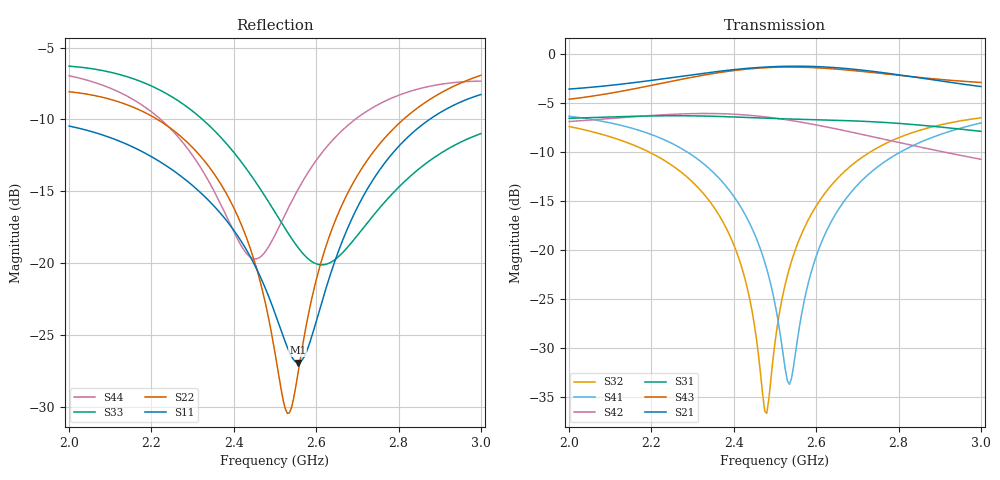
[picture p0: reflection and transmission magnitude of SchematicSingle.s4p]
! Created Mon Sep 11 13:56:52 2023
# hz S ma R 50
! 4 Port Network Data from SP1.SP block
! freq  magS11  angS11  magS12  angS12  magS13  angS13  magS14  angS14
!  magS21  angS21  magS22  angS22  magS23  angS23  magS24  angS24
!  magS31  angS31  magS32  angS32  magS33  angS33  magS34  angS34
!  magS41  angS41  magS42  angS42  magS43  angS43  magS44  angS44
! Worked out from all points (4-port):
!   201 points, 2 GHz to 3 GHz, reference 50 ohm
!   strongest paths, dB at 2 GHz, 2.25 GHz, 2.5 GHz, 2.75 GHz, 3 GHz:
!     S21: -3.6, -2.4, -1.3, -1.8, -3.3
!     S43: -4.6, -2.8, -1.3, -1.9, -2.9
!     S31: -6.5, -6.3, -6.6, -6.9, -7.9
!     S42: -6.9, -6.1, -6.5, -8.5, -10.7
!     S41: -6.3, -9.1, -25.5, -11.5, -7.0
!     S32: -7.4, -11.4, -29.4, -9.5, -6.5
!   lowest |S11| = -26.9 dB at 2.555 GHz (marker M1), VSWR 1.09, Z = 46.6 + j2.76 ohm
!   |S11| at or under -10 dB: start of sweep to 2.875 GHz
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2e9  0.3 110.4  0.6637 79.5  0.471 45.6  0.4822 -127.8
     0.6637 79.5  0.3949 97.3  0.4276 -136.8  0.4531 48.7
     0.471 45.6  0.4276 -136.8  0.4846 120.4  0.5893 164.3
     0.4822 -127.8  0.4531 48.7  0.5893 164.3  0.4489 129.2
2.35e9  0.1592 89.1  0.811 25.7  0.4822 -13.0  0.2496 178.0
        0.811 25.7  0.2067 57.2  0.1675 164.9  0.498 -14.1
        0.4822 -13.0  0.1675 164.9  0.2919 79.8  0.7967 124.5
        0.2496 178.0  0.498 -14.1  0.7967 124.5  0.1805 52.3
2.48e9  0.07967 94.4  0.8606 0.9  0.4712 -35.2  0.08016 162.4
        0.8606 0.9  0.06909 55.3  0.01471 43.6  0.4778 -40.8
        0.4712 -35.2  0.01471 43.6  0.1673 77.1  0.8536 103.3
        0.08016 162.4  0.4778 -40.8  0.8536 103.3  0.1116 -50.1
2.53e9  0.05103 115.8  0.868 -9.2  0.4673 -43.5  0.0216 -149.6
        0.868 -9.2  0.03009 107.2  0.07397 -35.3  0.4622 -50.9
        0.4673 -43.5  0.07397 -35.3  0.1285 84.5  0.8593 94.9
        0.0216 -149.6  0.4622 -50.9  0.8593 94.9  0.1533 -85.5
2.555e9  0.04513 139.1  0.8687 -14.3  0.4656 -47.7  0.03559 -83.1
         0.8687 -14.3  0.0408 151.1  0.1081 -44.1  0.4532 -55.9
         0.4656 -47.7  0.1081 -44.1  0.1139 91.2  0.8586 90.7
         0.03559 -83.1  0.4532 -55.9  0.8586 90.7  0.1796 -97.5
2.685e9  0.1412 -168.7  0.8406 -40.3  0.4572 -70.1  0.1978 -78.1
         0.8406 -40.3  0.185 169.8  0.2699 -75.0  0.4005 -80.0
         0.4572 -70.1  0.2699 -75.0  0.1176 138.7  0.8267 70.2
         0.1978 -78.1  0.4005 -80.0  0.8267 70.2  0.3085 -136.1
3e9  0.3862 152.9  0.6838 -93.4  0.4041 -125.5  0.4459 -122.5
     0.6838 -93.4  0.4505 131.7  0.4736 -128.1  0.2909 -128.7
     0.4041 -125.5  0.4736 -128.1  0.2824 141.1  0.7175 31.3
     0.4459 -122.5  0.2909 -128.7  0.7175 31.3  0.43 175.3
